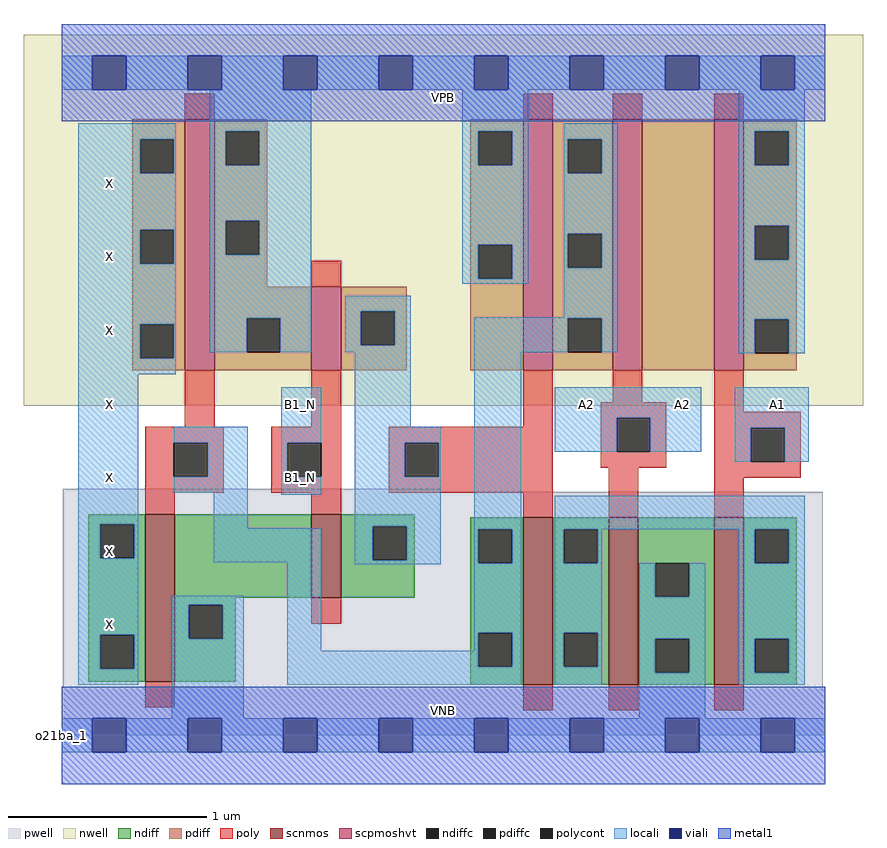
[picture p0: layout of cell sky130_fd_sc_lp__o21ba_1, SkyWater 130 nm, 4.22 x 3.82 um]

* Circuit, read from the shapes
.subckt sky130_fd_sc_lp__o21ba_1 A1 A2 B1_N VGND VNB VPB VPWR X
XM1 VGND n1 X VNB sky130_fd_pr__nfet_01v8 w=0.84 l=0.15
XM2 n2 B1_N VGND VNB sky130_fd_pr__nfet_01v8 w=0.42 l=0.15
XM3 n3 n2 n1 VNB sky130_fd_pr__nfet_01v8 w=0.84 l=0.15
XM4 VGND A2 n3 VNB sky130_fd_pr__nfet_01v8 w=0.84 l=0.15
XM5 n3 A1 VGND VNB sky130_fd_pr__nfet_01v8 w=0.84 l=0.15
XM6 VPWR n1 X VPB sky130_fd_pr__pfet_01v8_hvt w=1.26 l=0.15
XM7 n2 B1_N VPWR VPB sky130_fd_pr__pfet_01v8_hvt w=0.42 l=0.15
XM8 n1 n2 VPWR VPB sky130_fd_pr__pfet_01v8_hvt w=1.26 l=0.15
XM9 n4 A2 n1 VPB sky130_fd_pr__pfet_01v8_hvt w=1.26 l=0.15
XM10 VPWR A1 n4 VPB sky130_fd_pr__pfet_01v8_hvt w=1.26 l=0.15
.ends

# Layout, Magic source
magic
tech sky130A
magscale 1 2
<< nwell >>
rect -38 331 806 704
<< pwell >>
rect 1 245 381 248
rect 1 49 765 245
rect 0 0 768 49
<< scnmos >>
rect 84 54 114 222
rect 251 138 281 222
rect 464 51 494 219
rect 550 51 580 219
rect 656 51 686 219
<< scpmoshvt >>
rect 124 367 154 619
rect 251 367 281 451
rect 464 367 494 619
rect 554 367 584 619
rect 656 367 686 619
<< ndiff >>
rect 27 212 84 222
rect 27 178 39 212
rect 73 178 84 212
rect 27 101 84 178
rect 27 67 39 101
rect 73 67 84 101
rect 27 54 84 67
rect 114 138 251 222
rect 281 210 355 222
rect 281 176 313 210
rect 347 176 355 210
rect 281 138 355 176
rect 411 207 464 219
rect 411 173 419 207
rect 453 173 464 207
rect 114 131 175 138
rect 114 97 128 131
rect 162 97 175 131
rect 114 54 175 97
rect 411 103 464 173
rect 411 69 419 103
rect 453 69 464 103
rect 411 51 464 69
rect 494 207 550 219
rect 494 173 505 207
rect 539 173 550 207
rect 494 103 550 173
rect 494 69 505 103
rect 539 69 550 103
rect 494 51 550 69
rect 580 173 656 219
rect 580 139 597 173
rect 631 139 656 173
rect 580 97 656 139
rect 580 63 597 97
rect 631 63 656 97
rect 580 51 656 63
rect 686 207 739 219
rect 686 173 697 207
rect 731 173 739 207
rect 686 97 739 173
rect 686 63 697 97
rect 731 63 739 97
rect 686 51 739 63
<< pdiff >>
rect 71 599 124 619
rect 71 565 79 599
rect 113 565 124 599
rect 71 508 124 565
rect 71 474 79 508
rect 113 474 124 508
rect 71 413 124 474
rect 71 379 79 413
rect 113 379 124 413
rect 71 367 124 379
rect 154 607 207 619
rect 154 573 165 607
rect 199 573 207 607
rect 154 517 207 573
rect 154 483 165 517
rect 199 483 207 517
rect 154 451 207 483
rect 411 607 464 619
rect 411 573 419 607
rect 453 573 464 607
rect 411 493 464 573
rect 411 459 419 493
rect 453 459 464 493
rect 154 419 251 451
rect 154 385 186 419
rect 220 385 251 419
rect 154 367 251 385
rect 281 426 347 451
rect 281 392 301 426
rect 335 392 347 426
rect 281 367 347 392
rect 411 367 464 459
rect 494 599 554 619
rect 494 565 509 599
rect 543 565 554 599
rect 494 504 554 565
rect 494 470 509 504
rect 543 470 554 504
rect 494 419 554 470
rect 494 385 509 419
rect 543 385 554 419
rect 494 367 554 385
rect 584 367 656 619
rect 686 607 739 619
rect 686 573 697 607
rect 731 573 739 607
rect 686 512 739 573
rect 686 478 697 512
rect 731 478 739 512
rect 686 418 739 478
rect 686 384 697 418
rect 731 384 739 418
rect 686 367 739 384
<< ndiffc >>
rect 39 178 73 212
rect 39 67 73 101
rect 313 176 347 210
rect 419 173 453 207
rect 128 97 162 131
rect 419 69 453 103
rect 505 173 539 207
rect 505 69 539 103
rect 597 139 631 173
rect 597 63 631 97
rect 697 173 731 207
rect 697 63 731 97
<< pdiffc >>
rect 79 565 113 599
rect 79 474 113 508
rect 79 379 113 413
rect 165 573 199 607
rect 165 483 199 517
rect 419 573 453 607
rect 419 459 453 493
rect 186 385 220 419
rect 301 392 335 426
rect 509 565 543 599
rect 509 470 543 504
rect 509 385 543 419
rect 697 573 731 607
rect 697 478 731 512
rect 697 384 731 418
<< poly >>
rect 124 619 154 645
rect 464 619 494 645
rect 554 619 584 645
rect 656 619 686 645
rect 251 451 281 477
rect 124 310 154 367
rect 251 310 281 367
rect 464 310 494 367
rect 554 335 584 367
rect 84 294 163 310
rect 84 260 113 294
rect 147 260 163 294
rect 84 244 163 260
rect 211 294 281 310
rect 211 260 227 294
rect 261 260 281 294
rect 211 244 281 260
rect 329 294 494 310
rect 329 260 345 294
rect 379 260 494 294
rect 542 319 608 335
rect 542 285 558 319
rect 592 285 608 319
rect 542 269 608 285
rect 656 325 686 367
rect 656 309 743 325
rect 656 275 693 309
rect 727 275 743 309
rect 329 244 494 260
rect 84 222 114 244
rect 251 222 281 244
rect 464 219 494 244
rect 550 219 580 269
rect 656 259 743 275
rect 656 219 686 259
rect 251 112 281 138
rect 84 28 114 54
rect 464 25 494 51
rect 550 25 580 51
rect 656 25 686 51
<< polycont >>
rect 113 260 147 294
rect 227 260 261 294
rect 345 260 379 294
rect 558 285 592 319
rect 693 275 727 309
<< locali >>
rect 0 649 31 683
rect 65 649 127 683
rect 161 649 223 683
rect 257 649 319 683
rect 353 649 415 683
rect 449 649 511 683
rect 545 649 607 683
rect 641 649 703 683
rect 737 649 768 683
rect 17 599 115 615
rect 17 565 79 599
rect 113 565 115 599
rect 17 508 115 565
rect 17 474 79 508
rect 113 474 115 508
rect 17 413 115 474
rect 17 379 79 413
rect 113 379 115 413
rect 149 607 251 649
rect 149 573 165 607
rect 199 573 251 607
rect 149 517 251 573
rect 149 483 165 517
rect 199 483 251 517
rect 149 419 251 483
rect 403 607 469 649
rect 403 573 419 607
rect 453 573 469 607
rect 403 493 469 573
rect 403 459 419 493
rect 453 459 469 493
rect 403 454 469 459
rect 505 599 559 615
rect 505 565 509 599
rect 543 565 559 599
rect 505 504 559 565
rect 505 470 509 504
rect 543 470 559 504
rect 149 385 186 419
rect 220 385 251 419
rect 285 426 351 442
rect 285 392 301 426
rect 335 392 351 426
rect 505 420 559 470
rect 285 385 351 392
rect 17 363 115 379
rect 17 212 77 363
rect 113 294 187 310
rect 147 260 187 294
rect 113 244 187 260
rect 17 178 39 212
rect 73 178 77 212
rect 17 101 77 178
rect 153 208 187 244
rect 221 294 261 350
rect 221 260 227 294
rect 221 242 261 260
rect 295 310 351 385
rect 415 419 559 420
rect 415 385 509 419
rect 543 385 559 419
rect 681 607 747 649
rect 681 573 697 607
rect 731 573 747 607
rect 681 512 747 573
rect 681 478 697 512
rect 731 478 747 512
rect 681 418 747 478
rect 295 294 381 310
rect 295 260 345 294
rect 379 260 381 294
rect 295 210 381 260
rect 153 174 261 208
rect 17 67 39 101
rect 73 67 77 101
rect 17 51 77 67
rect 111 131 183 140
rect 111 97 128 131
rect 162 97 183 131
rect 111 17 183 97
rect 227 85 261 174
rect 295 176 313 210
rect 347 176 381 210
rect 295 172 381 176
rect 415 207 462 385
rect 681 384 697 418
rect 731 384 747 418
rect 496 319 643 350
rect 496 285 558 319
rect 592 285 643 319
rect 677 309 751 350
rect 677 275 693 309
rect 727 275 751 309
rect 415 173 419 207
rect 453 173 462 207
rect 415 103 462 173
rect 415 85 419 103
rect 227 69 419 85
rect 453 69 462 103
rect 227 51 462 69
rect 496 207 747 241
rect 496 173 505 207
rect 539 173 543 207
rect 681 173 697 207
rect 731 173 747 207
rect 496 103 543 173
rect 496 69 505 103
rect 539 69 543 103
rect 496 51 543 69
rect 581 139 597 173
rect 631 139 647 173
rect 581 97 647 139
rect 581 63 597 97
rect 631 63 647 97
rect 581 17 647 63
rect 681 97 747 173
rect 681 63 697 97
rect 731 63 747 97
rect 681 51 747 63
rect 0 -17 31 17
rect 65 -17 127 17
rect 161 -17 223 17
rect 257 -17 319 17
rect 353 -17 415 17
rect 449 -17 511 17
rect 545 -17 607 17
rect 641 -17 703 17
rect 737 -17 768 17
<< viali >>
rect 31 649 65 683
rect 127 649 161 683
rect 223 649 257 683
rect 319 649 353 683
rect 415 649 449 683
rect 511 649 545 683
rect 607 649 641 683
rect 703 649 737 683
rect 31 -17 65 17
rect 127 -17 161 17
rect 223 -17 257 17
rect 319 -17 353 17
rect 415 -17 449 17
rect 511 -17 545 17
rect 607 -17 641 17
rect 703 -17 737 17
<< metal1 >>
rect 0 683 768 715
rect 0 649 31 683
rect 65 649 127 683
rect 161 649 223 683
rect 257 649 319 683
rect 353 649 415 683
rect 449 649 511 683
rect 545 649 607 683
rect 641 649 703 683
rect 737 649 768 683
rect 0 617 768 649
rect 0 17 768 49
rect 0 -17 31 17
rect 65 -17 127 17
rect 161 -17 223 17
rect 257 -17 319 17
rect 353 -17 415 17
rect 449 -17 511 17
rect 545 -17 607 17
rect 641 -17 703 17
rect 737 -17 768 17
rect 0 -49 768 -17
<< labels >>
flabel pwell s 0 0 768 49 0 FreeSans 200 0 0 0 VNB
port 5 nsew ground bidirectional
flabel nwell s 0 617 768 666 0 FreeSans 200 0 0 0 VPB
port 6 nsew power bidirectional
rlabel comment s 0 0 0 0 4 o21ba_1
flabel metal1 s 0 617 768 666 0 FreeSans 340 0 0 0 VPWR
port 7 nsew power bidirectional
flabel metal1 s 0 0 768 49 0 FreeSans 340 0 0 0 VGND
port 4 nsew ground bidirectional
flabel locali s 703 316 737 350 0 FreeSans 340 0 0 0 A1
port 1 nsew signal input
flabel locali s 31 538 65 572 0 FreeSans 340 0 0 0 X
port 8 nsew signal output
flabel locali s 511 316 545 350 0 FreeSans 340 0 0 0 A2
port 2 nsew signal input
flabel locali s 607 316 641 350 0 FreeSans 340 0 0 0 A2
port 2 nsew signal input
flabel locali s 223 242 257 276 0 FreeSans 340 0 0 0 B1_N
port 3 nsew signal input
flabel locali s 223 316 257 350 0 FreeSans 340 0 0 0 B1_N
port 3 nsew signal input
flabel locali s 31 94 65 128 0 FreeSans 340 0 0 0 X
port 8 nsew signal output
flabel locali s 31 168 65 202 0 FreeSans 340 0 0 0 X
port 8 nsew signal output
flabel locali s 31 242 65 276 0 FreeSans 340 0 0 0 X
port 8 nsew signal output
flabel locali s 31 316 65 350 0 FreeSans 340 0 0 0 X
port 8 nsew signal output
flabel locali s 31 390 65 424 0 FreeSans 340 0 0 0 X
port 8 nsew signal output
flabel locali s 31 464 65 498 0 FreeSans 340 0 0 0 X
port 8 nsew signal output
<< properties >>
string LEFsite unit
string LEFclass CORE
string FIXED_BBOX 0 0 768 666
string GDS_FILE $PDKPATH/libs.ref/sky130_fd_sc_lp/gds/sky130_fd_sc_lp.gds
string LEFsymmetry X Y R90
string GDS_END 6526466
string GDS_START 6518840
<< end >>
